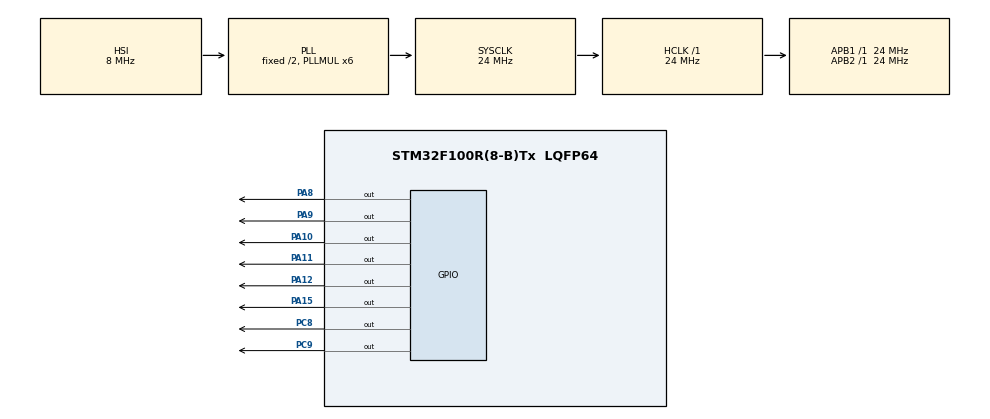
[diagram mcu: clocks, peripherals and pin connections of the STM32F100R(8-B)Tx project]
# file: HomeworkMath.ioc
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Mcu.Family=STM32F1
Mcu.Name=STM32F100R(8-B)Tx
Mcu.Package=LQFP64
NVIC.PriorityGroup=NVIC_PRIORITYGROUP_4
NVIC.TIM1_UP_TIM16_IRQn=true\:1\:0\:true\:false\:true\:true\:true\:true
NVIC.TIM2_IRQn=true\:1\:0\:true\:false\:true\:true\:true\:true
PA10.Signal=GPIO_Output
PA11.Signal=GPIO_Output
PA12.Signal=GPIO_Output
PA13.Mode=Serial_Wire
PA13.Signal=SYS_JTMS-SWDIO
PA14.Mode=Serial_Wire
PA14.Signal=SYS_JTCK-SWCLK
PA15.Signal=GPIO_Output
PA8.Signal=GPIO_Output
PA9.Signal=GPIO_Output
PC8.Signal=GPIO_Output
PC9.Signal=GPIO_Output
ProjectManager.HeapSize=0x200
ProjectManager.StackSize=0x400
ProjectManager.TargetToolchain=STM32CubeIDE
RCC.AHBFreq_Value=24000000
RCC.APB1Freq_Value=24000000
RCC.APB1TimFreq_Value=24000000
RCC.APB2Freq_Value=24000000
RCC.APB2TimFreq_Value=24000000
RCC.HCLKFreq_Value=24000000
RCC.PLLMUL=RCC_PLL_MUL6
RCC.SYSCLKFreq_VALUE=24000000
RCC.SYSCLKSource=RCC_SYSCLKSOURCE_PLLCLK
TIM1.Period=999
TIM1.Prescaler=23999
TIM2.Period=4999
TIM2.Prescaler=23999
VP_TIM1_VS_ClockSourceINT.Mode=Internal
VP_TIM2_VS_ClockSourceINT.Mode=Internal
board=custom

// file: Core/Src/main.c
/* USER CODE BEGIN Header */
/**
  ******************************************************************************
  * @file           : main.c
  * @brief          : Main program body
  ******************************************************************************
  * @attention
  *
  * Copyright (c) 2022 STMicroelectronics.
  * All rights reserved.
  *
  * This software is licensed under terms that can be found in the LICENSE file
  * in the root directory of this software component.
  * If no LICENSE file comes with this software, it is provided AS-IS.
  *
  ******************************************************************************
  */
/* USER CODE END Header */
#include "main.h"

/* USER CODE BEGIN Includes */

#define  PC8_ON  HAL_GPIO_WritePin(GPIOC, GPIO_PIN_8,GPIO_PIN_SET)
#define  PC8_OFF HAL_GPIO_WritePin(GPIOC, GPIO_PIN_8,GPIO_PIN_RESET)	;

  uint8_t chas;
  uint8_t  minuta;
  uint8_t sekunda;

  uint32_t E;
  uint8_t x;
  char P;

  uint8_t TIMER_LED;
  uint8_t TIMER_SEKUND;
  uint8_t TIMER_MINUT;
  uint8_t TIMER_CHASOV;

/* USER CODE END Includes */

TIM_HandleTypeDef htim1;
TIM_HandleTypeDef htim2;

void SystemClock_Config(void);
static void MX_GPIO_Init(void);
static void MX_TIM1_Init(void);
static void MX_TIM2_Init(void);

int main(void)
{

  /* MCU Configuration--------------------------------------------------------*/

  /* Reset of all peripherals, Initializes the Flash interface and the Systick. */
  HAL_Init();

  /* Configure the system clock */
  SystemClock_Config();

  /* Initialize all configured peripherals */
  MX_GPIO_Init();
  MX_TIM1_Init();
  MX_TIM2_Init();
  /* USER CODE BEGIN 2 */

//A = 128;
//B = 255;

//uint64_t B = (uint64_t)1 << 63;

/*C = 1 << 14;
C |= 1 << 2;
C |= C + 1;

C = A << 8|B;

E = C;
D = C >> 8;*/

/*C = 0xAB << 8|0xAC;

A = 0xCD << 8|0xCE;

B = 0xBF << 8|0xCA;

D = 0xEA << 8|0xEB*/

//A = 0xEB << 24|0xAC << 16|0xBC << 8|0xED;

 /* B = 0xAC << 56LL;
  B = 0xBD << 48;
  B = 0xEF << 40;
  B = 0xDA << 32;
  B = 0xFC << 24;
  B = 0xCE << 16;
  B = 0xAD << 8;*/

  /*C = 0xDA << 24;
  C = 0xFE << 16;
  C = 0xBC << 8;

  C = 0xDA << 24|0xFE << 16|0xBC << 8|0xEB;*/

//A = sqrt(1049600);

 /* uint16_t sot = 0;
  uint16_t des = 0;
  uint16_t Ed = 0;

  sot = 123/100;
  des = 123%10;
  Ed = 123%10;*/

/*uint32_t tsh = 0;
uint32_t sot = 0;
uint32_t des = 0;
uint32_t Ed = 0;

tsh = 1024/1000;

sot = 1024 - (tsh*1000);
sot = sot/100;

des = 1024 - ((tsh*1000) - sot*100);
des = des/10;

Ed = 1024 - (((tsh*1000) - sot*100) - des*10);
Ed = Ed/10;*/

  /*uint8_t B = 1;
  char*P = &B;*/

 /* for(uint8_t x = 0; x < 16; x ++)
  {
	  GPIOC->BSRR = (uint32_t)1 << x;
	  GPIOC->BSRR = (uint32_t)1 << (x+16);
  }*/

      //GPIOA->BSRR = (uint32_t)1 << x;
      //GPIOA->BSRR = (uint32_t)1 << (x+16);

  /*char*P = 0;
  uint8_t X = 1;
  P = &X;*/

HAL_TIM_Base_Start_IT(&htim1);
HAL_TIM_Base_Start(&htim1);

//HAL_TIM_Base_Start_IT(&htim2);
//HAL_TIM_Base_Start(&htim2);

  /* USER CODE END 2 */

  /* Infinite loop */
  /* USER CODE BEGIN WHILE */
  while (1)
  {

/*	  for(x = 9; x > 7; x--)
	  {
       GPIOC->BSRR = (uint32_t)1 << x;
       HAL_Delay(100);
       GPIOC->BSRR = (uint32_t)1 << (x+16);
       HAL_Delay(100);
	  }

	  for(x = 8; x < 15; x ++)
	   {
		  if(x <= 12)
		   {
	        GPIOA->BSRR = (uint32_t)1 << x;
	        HAL_Delay(100);
	        GPIOA->BSRR = (uint32_t)1 << (x+16);
	        HAL_Delay(100);
		   }

		      if(x == 12)
		 	   {
		 	    x = 15;
		 	     GPIOA->BSRR = (uint32_t)1 << x;
		 	     HAL_Delay(100);
				 GPIOA->BSRR = (uint32_t)1 << (x+16);
				 HAL_Delay(100);
		 	   }

	   }

*/

if(TIMER_LED == 1)
{

  PC8_ON;
  HAL_Delay(50);
  PC8_OFF;
  TIMER_LED = 0;

  x++;

  if(x == 5)
   {
	  HAL_GPIO_WritePin(GPIOC, GPIO_PIN_9,GPIO_PIN_SET)	;
	  HAL_Delay(50);
	  HAL_GPIO_WritePin(GPIOC, GPIO_PIN_9,GPIO_PIN_RESET);
	  x = 0;
   }

}

if(TIMER_SEKUND == 1 )
{
   TIMER_SEKUND = 0;

   if(TIMER_MINUT == 1, TIMER_SEKUND <= 59)

   {

	   TIMER_MINUT = 0;
	   x ++;

	  if(TIMER_CHASOV == 1, TIMER_MINUT <=59)

   {

		  TIMER_CHASOV = 0;
          x ++;
   }

	  	  //if(B &0x8000000000000000)
	  	  // {
	  	 	//  HAL_GPIO_WritePin(GPIOC,GPIO_PIN_8 , GPIO_PIN_SET);
	  	  // }
	  	   //else
	  	  // {
	  	 //	  HAL_GPIO_WritePin(GPIOC,GPIO_PIN_8 , GPIO_PIN_RESET);
	  	//   }
    /* USER CODE END WHILE */

  }
}

void SystemClock_Config(void)
{
  RCC_OscInitTypeDef RCC_OscInitStruct = {0};
  RCC_ClkInitTypeDef RCC_ClkInitStruct = {0};

  /** Initializes the RCC Oscillators according to the specified parameters
  * in the RCC_OscInitTypeDef structure.
  */
  RCC_OscInitStruct.OscillatorType = RCC_OSCILLATORTYPE_HSI;
  RCC_OscInitStruct.HSIState = RCC_HSI_ON;
  RCC_OscInitStruct.HSICalibrationValue = RCC_HSICALIBRATION_DEFAULT;
  RCC_OscInitStruct.PLL.PLLState = RCC_PLL_ON;
  RCC_OscInitStruct.PLL.PLLSource = RCC_PLLSOURCE_HSI_DIV2;
  RCC_OscInitStruct.PLL.PLLMUL = RCC_PLL_MUL6;
  if (HAL_RCC_OscConfig(&RCC_OscInitStruct) != HAL_OK)
  {
    Error_Handler();
  }

  /** Initializes the CPU, AHB and APB buses clocks
  */
  RCC_ClkInitStruct.ClockType = RCC_CLOCKTYPE_HCLK|RCC_CLOCKTYPE_SYSCLK
                              |RCC_CLOCKTYPE_PCLK1|RCC_CLOCKTYPE_PCLK2;
  RCC_ClkInitStruct.SYSCLKSource = RCC_SYSCLKSOURCE_PLLCLK;
  RCC_ClkInitStruct.AHBCLKDivider = RCC_SYSCLK_DIV1;
  RCC_ClkInitStruct.APB1CLKDivider = RCC_HCLK_DIV1;
  RCC_ClkInitStruct.APB2CLKDivider = RCC_HCLK_DIV1;

  if (HAL_RCC_ClockConfig(&RCC_ClkInitStruct, FLASH_LATENCY_0) != HAL_OK)
  {
    Error_Handler();
  }
}

static void MX_TIM1_Init(void)
{

  TIM_ClockConfigTypeDef sClockSourceConfig = {0};
  TIM_MasterConfigTypeDef sMasterConfig = {0};

  htim1.Instance = TIM1;
  htim1.Init.Prescaler = 23999;
  htim1.Init.CounterMode = TIM_COUNTERMODE_UP;
  htim1.Init.Period = 999;
  htim1.Init.ClockDivision = TIM_CLOCKDIVISION_DIV1;
  htim1.Init.RepetitionCounter = 0;
  htim1.Init.AutoReloadPreload = TIM_AUTORELOAD_PRELOAD_DISABLE;
  if (HAL_TIM_Base_Init(&htim1) != HAL_OK)
  {
    Error_Handler();
  }
  sClockSourceConfig.ClockSource = TIM_CLOCKSOURCE_INTERNAL;
  if (HAL_TIM_ConfigClockSource(&htim1, &sClockSourceConfig) != HAL_OK)
  {
    Error_Handler();
  }
  sMasterConfig.MasterOutputTrigger = TIM_TRGO_RESET;
  sMasterConfig.MasterSlaveMode = TIM_MASTERSLAVEMODE_DISABLE;
  if (HAL_TIMEx_MasterConfigSynchronization(&htim1, &sMasterConfig) != HAL_OK)
  {
    Error_Handler();
  }

}

static void MX_TIM2_Init(void)
{

  TIM_ClockConfigTypeDef sClockSourceConfig = {0};
  TIM_MasterConfigTypeDef sMasterConfig = {0};

  htim2.Instance = TIM2;
  htim2.Init.Prescaler = 23999;
  htim2.Init.CounterMode = TIM_COUNTERMODE_UP;
  htim2.Init.Period = 4999;
  htim2.Init.ClockDivision = TIM_CLOCKDIVISION_DIV1;
  htim2.Init.AutoReloadPreload = TIM_AUTORELOAD_PRELOAD_DISABLE;
  if (HAL_TIM_Base_Init(&htim2) != HAL_OK)
  {
    Error_Handler();
  }
  sClockSourceConfig.ClockSource = TIM_CLOCKSOURCE_INTERNAL;
  if (HAL_TIM_ConfigClockSource(&htim2, &sClockSourceConfig) != HAL_OK)
  {
    Error_Handler();
  }
  sMasterConfig.MasterOutputTrigger = TIM_TRGO_RESET;
  sMasterConfig.MasterSlaveMode = TIM_MASTERSLAVEMODE_DISABLE;
  if (HAL_TIMEx_MasterConfigSynchronization(&htim2, &sMasterConfig) != HAL_OK)
  {
    Error_Handler();
  }

}

static void MX_GPIO_Init(void)
{
  GPIO_InitTypeDef GPIO_InitStruct = {0};

  /* GPIO Ports Clock Enable */
  __HAL_RCC_GPIOC_CLK_ENABLE();
  __HAL_RCC_GPIOA_CLK_ENABLE();

  /*Configure GPIO pin Output Level */
  HAL_GPIO_WritePin(GPIOC, GPIO_PIN_8|GPIO_PIN_9, GPIO_PIN_RESET);

  /*Configure GPIO pin Output Level */
  HAL_GPIO_WritePin(GPIOA, GPIO_PIN_8|GPIO_PIN_9|GPIO_PIN_10|GPIO_PIN_11
                          |GPIO_PIN_12|GPIO_PIN_15, GPIO_PIN_RESET);

  /*Configure GPIO pins : PC8 PC9 */
  GPIO_InitStruct.Pin = GPIO_PIN_8|GPIO_PIN_9;
  GPIO_InitStruct.Mode = GPIO_MODE_OUTPUT_PP;
  GPIO_InitStruct.Pull = GPIO_NOPULL;
  GPIO_InitStruct.Speed = GPIO_SPEED_FREQ_LOW;
  HAL_GPIO_Init(GPIOC, &GPIO_InitStruct);

  /*Configure GPIO pins : PA8 PA9 PA10 PA11
                           PA12 PA15 */
  GPIO_InitStruct.Pin = GPIO_PIN_8|GPIO_PIN_9|GPIO_PIN_10|GPIO_PIN_11
                          |GPIO_PIN_12|GPIO_PIN_15;
  GPIO_InitStruct.Mode = GPIO_MODE_OUTPUT_PP;
  GPIO_InitStruct.Pull = GPIO_NOPULL;
  GPIO_InitStruct.Speed = GPIO_SPEED_FREQ_LOW;
  HAL_GPIO_Init(GPIOA, &GPIO_InitStruct);

}

void Error_Handler(void)
{
  __disable_irq();
  while (1)
  {
  }
}
